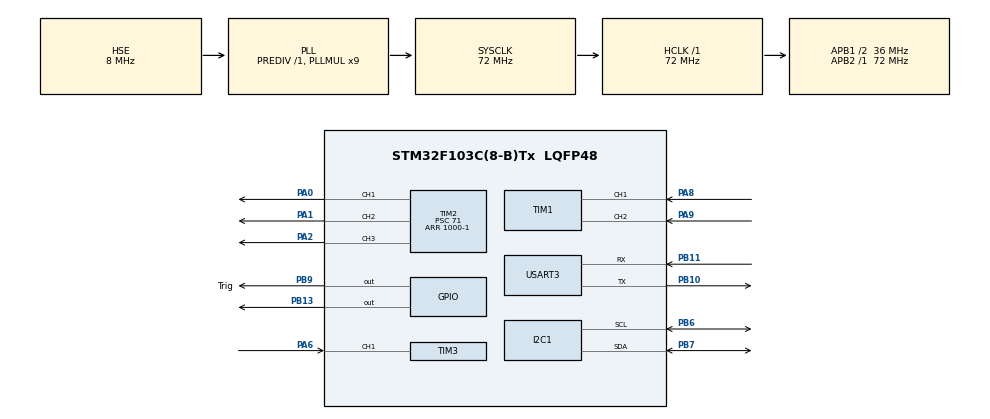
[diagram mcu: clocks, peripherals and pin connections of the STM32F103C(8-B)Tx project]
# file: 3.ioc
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Mcu.Family=STM32F1
Mcu.Name=STM32F103C(8-B)Tx
Mcu.Package=LQFP48
NVIC.PriorityGroup=NVIC_PRIORITYGROUP_4
NVIC.TIM3_IRQn=true\:0\:0\:false\:false\:true\:true\:true\:true
PA0-WKUP.Signal=S_TIM2_CH1_ETR
PA1.Signal=S_TIM2_CH2
PA13.Mode=Serial_Wire
PA13.Signal=SYS_JTMS-SWDIO
PA14.Mode=Serial_Wire
PA14.Signal=SYS_JTCK-SWCLK
PA2.Signal=S_TIM2_CH3
PA6.Signal=S_TIM3_CH1
PA8.Signal=S_TIM1_CH1
PA9.Signal=S_TIM1_CH2
PB10.Mode=Asynchronous
PB10.Signal=USART3_TX
PB11.Mode=Asynchronous
PB11.Signal=USART3_RX
PB13.Signal=GPIO_Output
PB6.Mode=I2C
PB6.Signal=I2C1_SCL
PB7.Mode=I2C
PB7.Signal=I2C1_SDA
PB9.GPIO_Label=Trig
PB9.GPIO_PuPd=GPIO_PULLUP
PB9.GPIO_Speed=GPIO_SPEED_FREQ_HIGH
PB9.Signal=GPIO_Output
PC14-OSC32_IN.Mode=LSE-External-Oscillator
PC14-OSC32_IN.Signal=RCC_OSC32_IN
PC15-OSC32_OUT.Mode=LSE-External-Oscillator
PC15-OSC32_OUT.Signal=RCC_OSC32_OUT
PD0-OSC_IN.Mode=HSE-External-Oscillator
PD0-OSC_IN.Signal=RCC_OSC_IN
PD1-OSC_OUT.Mode=HSE-External-Oscillator
PD1-OSC_OUT.Signal=RCC_OSC_OUT
ProjectManager.HeapSize=0x200
ProjectManager.StackSize=0x400
ProjectManager.TargetToolchain=MDK-ARM V5.32
RCC.AHBFreq_Value=72000000
RCC.APB1CLKDivider=RCC_HCLK_DIV2
RCC.APB1Freq_Value=36000000
RCC.APB1TimFreq_Value=72000000
RCC.APB2Freq_Value=72000000
RCC.APB2TimFreq_Value=72000000
RCC.HCLKFreq_Value=72000000
RCC.PLLMUL=RCC_PLL_MUL9
RCC.PLLSourceVirtual=RCC_PLLSOURCE_HSE
RCC.SYSCLKFreq_VALUE=72000000
RCC.SYSCLKSource=RCC_SYSCLKSOURCE_PLLCLK
RCC.USBFreq_Value=72000000
SH.S_TIM1_CH1.0=TIM1_CH1,Encoder_Interface
SH.S_TIM1_CH2.0=TIM1_CH2,Encoder_Interface
SH.S_TIM2_CH1_ETR.0=TIM2_CH1,PWM Generation1 CH1
SH.S_TIM2_CH2.0=TIM2_CH2,PWM Generation2 CH2
SH.S_TIM2_CH3.0=TIM2_CH3,PWM Generation3 CH3
SH.S_TIM3_CH1.0=TIM3_CH1,Input_Capture1_from_TI1
TIM2.Channel-PWM\ Generation1\ CH1=TIM_CHANNEL_1
TIM2.Channel-PWM\ Generation2\ CH2=TIM_CHANNEL_2
TIM2.Channel-PWM\ Generation3\ CH3=TIM_CHANNEL_3
TIM2.Period=1000-1
TIM2.Prescaler=71
TIM2.Pulse-PWM\ Generation1\ CH1=16
TIM3.AutoReloadPreload=TIM_AUTORELOAD_PRELOAD_ENABLE
TIM3.Channel-Input_Capture1_from_TI1=TIM_CHANNEL_1
TIM3.Channel-Input_Capture2_from_TI1_63=TIM_CHANNEL_2
TIM3.ICPolarity_CH2=TIM_INPUTCHANNELPOLARITY_FALLING
TIM3.Prescaler=71
USART3.VirtualMode=VM_ASYNC
VP_TIM3_VS_ClockSourceINT.Mode=Internal
VP_TIM3_VS_indirect_ch1.Mode=Input_Capture2_from_TI1_63
board=custom

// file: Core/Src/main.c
/* USER CODE BEGIN Header */
/**
  ******************************************************************************
  * @file           : main.c
  * @brief          : Main program body
  ******************************************************************************
  * @attention
  *
  * Copyright (c) 2025 STMicroelectronics.
  * All rights reserved.
  *
  * This software is licensed under terms that can be found in the LICENSE file
  * in the root directory of this software component.
  * If no LICENSE file comes with this software, it is provided AS-IS.
  *
  ******************************************************************************
  */
/* USER CODE END Header */
#include "main.h"
#include "i2c.h"
#include "tim.h"
#include "usart.h"
#include "gpio.h"

/* USER CODE BEGIN Includes */
#include <stdio.h>
#include "hcsr04.h"
#include "oled.h"
#include "pid.h"
/* USER CODE END Includes */

/* USER CODE BEGIN PV */
uint16_t compare = 0;
float distant;
/* USER CODE END PV */

void SystemClock_Config(void);

int main(void)
{

  /* MCU Configuration--------------------------------------------------------*/

  /* Reset of all peripherals, Initializes the Flash interface and the Systick. */
  HAL_Init();

  /* Configure the system clock */
  SystemClock_Config();

  /* Initialize all configured peripherals */
  MX_GPIO_Init();
  MX_TIM2_Init();
  MX_TIM3_Init();
  MX_I2C1_Init();
  MX_TIM1_Init();
  MX_USART3_UART_Init();
  /* USER CODE BEGIN 2 */

	HAL_TIM_PWM_Start(&htim2,TIM_CHANNEL_1);
	HAL_TIM_PWM_Start(&htim2,TIM_CHANNEL_2);
	HAL_TIM_PWM_Start(&htim2,TIM_CHANNEL_3);
	__HAL_TIM_SET_COMPARE(&htim2,TIM_CHANNEL_1,0);
	OLED_Init();
  OLED_Clear();
  HC_SR04Init();
//	OLED_ShowString(0,0,"UNICORN_LI",16, 1);
//  OLED_ShowString(0,2,"unicorn_li_123",12,0);
	__HAL_TIM_SET_COMPARE(&htim2,TIM_CHANNEL_2,0);
	__HAL_TIM_SET_COMPARE(&htim2,TIM_CHANNEL_3,0);
	HAL_TIM_Encoder_Start(&htim1, TIM_CHANNEL_ALL);//启动编码器定时模式
	int32_t counter;
  /* USER CODE END 2 */

  /* Infinite loop */
  /* USER CODE BEGIN WHILE */
  while (1)
  {
		HC_SR04Trig();
		HAL_Delay(50);
	  float height =50-distant ;
		height =height  <5 ? 5 :height;
		if (height > 20){
			HAL_GPIO_WritePin(GPIOB,GPIO_PIN_13,GPIO_PIN_SET);
			compare = 0;
		}else {
			HAL_GPIO_WritePin(GPIOB,GPIO_PIN_13,GPIO_PIN_RESET);
			compare = height * 50 -1;
		}
		__HAL_TIM_SET_COMPARE(&htim2,TIM_CHANNEL_1,compare);

		OLED_Showdecimal(0,0,height,2,2,12, 0);
		OLED_ShowString(36,0,"cm",12,0);

		if (height < 50){

		__HAL_TIM_SET_COMPARE(&htim2,TIM_CHANNEL_2,0);
		__HAL_TIM_SET_COMPARE(&htim2,TIM_CHANNEL_3,(uint32_t)(height*20-1));

		}else {
			__HAL_TIM_SET_COMPARE(&htim2,TIM_CHANNEL_2,0);
		  __HAL_TIM_SET_COMPARE(&htim2,TIM_CHANNEL_3,0);
		}
		counter = __HAL_TIM_GET_COUNTER(&htim1);
		__HAL_TIM_SET_COUNTER(&htim1,0);
	}
    /* USER CODE END WHILE */

}

void SystemClock_Config(void)
{
  RCC_OscInitTypeDef RCC_OscInitStruct = {0};
  RCC_ClkInitTypeDef RCC_ClkInitStruct = {0};

  /** Initializes the RCC Oscillators according to the specified parameters
  * in the RCC_OscInitTypeDef structure.
  */
  RCC_OscInitStruct.OscillatorType = RCC_OSCILLATORTYPE_HSE;
  RCC_OscInitStruct.HSEState = RCC_HSE_ON;
  RCC_OscInitStruct.HSEPredivValue = RCC_HSE_PREDIV_DIV1;
  RCC_OscInitStruct.HSIState = RCC_HSI_ON;
  RCC_OscInitStruct.PLL.PLLState = RCC_PLL_ON;
  RCC_OscInitStruct.PLL.PLLSource = RCC_PLLSOURCE_HSE;
  RCC_OscInitStruct.PLL.PLLMUL = RCC_PLL_MUL9;
  if (HAL_RCC_OscConfig(&RCC_OscInitStruct) != HAL_OK)
  {
    Error_Handler();
  }

  /** Initializes the CPU, AHB and APB buses clocks
  */
  RCC_ClkInitStruct.ClockType = RCC_CLOCKTYPE_HCLK|RCC_CLOCKTYPE_SYSCLK
                              |RCC_CLOCKTYPE_PCLK1|RCC_CLOCKTYPE_PCLK2;
  RCC_ClkInitStruct.SYSCLKSource = RCC_SYSCLKSOURCE_PLLCLK;
  RCC_ClkInitStruct.AHBCLKDivider = RCC_SYSCLK_DIV1;
  RCC_ClkInitStruct.APB1CLKDivider = RCC_HCLK_DIV2;
  RCC_ClkInitStruct.APB2CLKDivider = RCC_HCLK_DIV1;

  if (HAL_RCC_ClockConfig(&RCC_ClkInitStruct, FLASH_LATENCY_2) != HAL_OK)
  {
    Error_Handler();
  }
}

/* USER CODE BEGIN 4 */
//int fputc(int ch,FILE *f)
//{
//	HAL_UART_Transmit (&huart1 ,(uint8_t *)&ch,1,HAL_MAX_DELAY );
//	return ch;
//}

void HAL_TIM_IC_CaptureCallback(TIM_HandleTypeDef *htim)
{
	if(htim == HC_SR04TIMPort && htim->Channel == HC_SR04ICActiveChannel)
	{
		/*Please creat a variable "HC_SR04Dis" which type is float
		 *You can also replase HC_SR04Dis with you own variable*/

		/*Get Distance*/

		distant = HC_SR04GetDistance();
	}
}

/* USER CODE END 4 */

void Error_Handler(void)
{
  __disable_irq();
  while (1)
  {
  }
}
